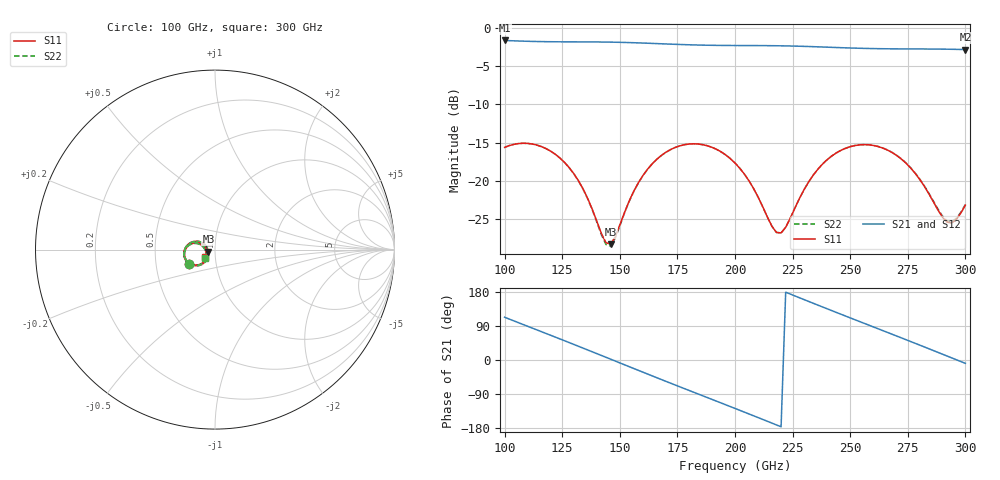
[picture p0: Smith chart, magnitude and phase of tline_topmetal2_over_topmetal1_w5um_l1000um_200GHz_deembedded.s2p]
! Created with skrf 2.2.0 (http://scikit-rf.org).
# GHz S DB R 50.0
! Port[1] = P1
! Port[2] = P2
!freq dBS11 angS11 dBS21 angS21 dBS12 angS12 dBS22 angS22
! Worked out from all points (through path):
!   101 points, 100 GHz to 300 GHz, reference 50 ohm
!   highest |S21| = -1.65 dB at 100 GHz (marker M1); lowest = -2.8 dB at 300 GHz (marker M2)
!   group delay of S21, straight-line fit = 6.69 ps
!   lowest |S11| = -28.3 dB at 146 GHz (marker M3), VSWR 1.08, Z = 46.4 - j1.08 ohm
!   |S11| at or under -10 dB: start of sweep to end of sweep
!   |S22| runs from -28.5 to -15.1 dB; largest |S21 - S12| = 1.4e-13
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100  -15.62 -150.1  -1.65 112.9  -1.65 112.9  -15.62 -150.0
108  -15.08 -166.1  -1.74 93.8  -1.74 93.8  -15.08 -166.1
116  -15.52 178.2  -1.80 74.7  -1.80 74.7  -15.52 178.2
126  -17.58 160.7  -1.83 50.8  -1.83 50.8  -17.59 160.5
134  -21.01 151.9  -1.84 31.5  -1.84 31.5  -21.06 151.6
144  -28.07 -179.9  -1.86 7.1  -1.86 7.1  -28.32 180.0
146  -28.26 -162.5  -1.87 2.2  -1.87 2.2  -28.52 -161.9
158  -20.27 -129.7  -1.97 -27.2  -1.97 -27.2  -20.30 -128.7
168  -16.68 -142.8  -2.08 -51.5  -2.08 -51.5  -16.69 -142.1
176  -15.42 -156.9  -2.18 -70.6  -2.18 -70.6  -15.42 -156.2
184  -15.18 -171.5  -2.25 -89.7  -2.25 -89.7  -15.18 -170.9
200  -17.66 162.1  -2.31 -127.8  -2.31 -127.8  -17.66 162.6
210  -22.09 156.1  -2.32 -151.9  -2.32 -151.9  -22.09 156.7
218  -26.73 -176.3  -2.34 -171.4  -2.34 -171.4  -26.74 -175.7
222  -26.06 -150.2  -2.36 178.9  -2.36 178.9  -26.06 -149.6
234  -19.23 -134.3  -2.46 149.6  -2.46 149.6  -19.22 -133.6
244  -16.34 -147.1  -2.57 125.5  -2.57 125.5  -16.33 -146.4
252  -15.38 -160.3  -2.65 106.4  -2.65 106.4  -15.37 -159.6
268  -16.26 173.4  -2.75 68.4  -2.75 68.4  -16.23 174.2
280  -19.72 160.5  -2.76 39.7  -2.76 39.7  -19.67 161.5
292  -25.38 -175.5  -2.79 10.6  -2.79 10.6  -25.20 -175.0
300  -23.17 -140.7  -2.84 -8.8  -2.84 -8.8  -23.08 -140.9
